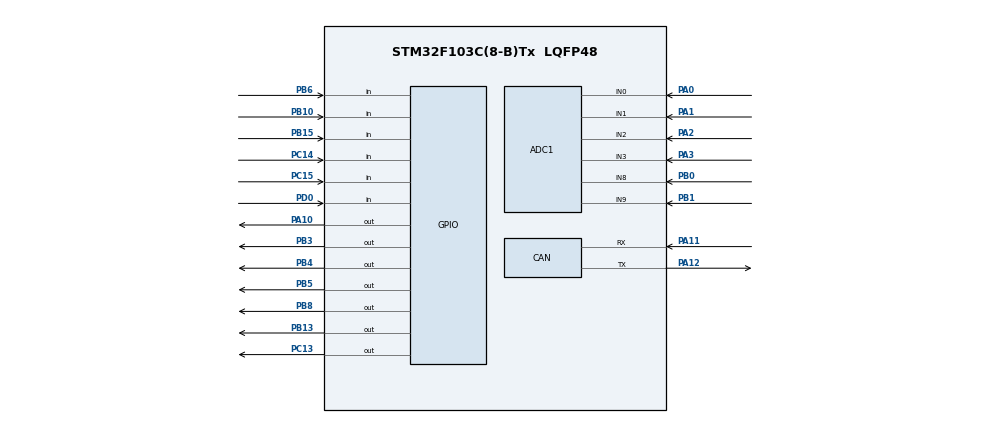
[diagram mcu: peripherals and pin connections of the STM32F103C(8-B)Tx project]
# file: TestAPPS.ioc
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ADC1.Channel-0\#ChannelRegularConversion=ADC_CHANNEL_0
ADC1.NbrOfConversionFlag=1
ADC1.Rank-0\#ChannelRegularConversion=1
ADC1.SamplingTime-0\#ChannelRegularConversion=ADC_SAMPLETIME_1CYCLE_5
ADC1.master=1
CAN.CalculateTimeBit=6000
CAN.CalculateTimeQuantum=2000.0
Mcu.Family=STM32F1
Mcu.Name=STM32F103C(8-B)Tx
Mcu.Package=LQFP48
NVIC.PriorityGroup=NVIC_PRIORITYGROUP_4
PA0-WKUP.Signal=ADCx_IN0
PA1.Signal=ADCx_IN1
PA10.Signal=GPIO_Output
PA11.Mode=Master
PA11.Signal=CAN_RX
PA12.Mode=Master
PA12.Signal=CAN_TX
PA2.Signal=ADCx_IN2
PA3.Signal=ADCx_IN3
PB0.Signal=ADCx_IN8
PB1.Signal=ADCx_IN9
PB10.Signal=GPIO_Input
PB13.Signal=GPIO_Output
PB15.Signal=GPIO_Input
PB3.Signal=GPIO_Output
PB4.Signal=GPIO_Output
PB5.Signal=GPIO_Output
PB6.Signal=GPIO_Input
PB8.Signal=GPIO_Output
PC13-TAMPER-RTC.Signal=GPIO_Output
PC14-OSC32_IN.Signal=GPIO_Input
PC15-OSC32_OUT.Signal=GPIO_Input
PD0-OSC_IN.Signal=GPIO_Input
ProjectManager.HeapSize=0x200
ProjectManager.StackSize=0x400
ProjectManager.TargetToolchain=Makefile
RCC.APB1Freq_Value=8000000
RCC.APB2Freq_Value=8000000
SH.ADCx_IN0.0=ADC1_IN0,IN0
SH.ADCx_IN1.0=ADC1_IN1,IN1
SH.ADCx_IN2.0=ADC1_IN2,IN2
SH.ADCx_IN3.0=ADC1_IN3,IN3
SH.ADCx_IN8.0=ADC1_IN8,IN8
SH.ADCx_IN9.0=ADC1_IN9,IN9
VP_SYS_VS_ND.Mode=No_Debug
board=custom

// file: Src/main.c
/* USER CODE BEGIN Header */
/**
  ******************************************************************************
  * @file           : main.c
  * @brief          : Main program body
  ******************************************************************************
  * @attention
  *
  * <h2><center>&copy; Copyright (c) 2019 STMicroelectronics.
  * All rights reserved.</center></h2>
  *
  * This software component is licensed by ST under BSD 3-Clause license,
  * the "License"; You may not use this file except in compliance with the
  * License. You may obtain a copy of the License at:
  *                        opensource.org/licenses/BSD-3-Clause
  *
  ******************************************************************************
  */
/* USER CODE END Header */

#include "main.h"

ADC_HandleTypeDef hadc1;

CAN_HandleTypeDef hcan;

/* USER CODE BEGIN PV */
uint16_t brakePos;
uint16_t steeringPos;
uint16_t brakePressure_1;
uint16_t brakePressure_2;
uint16_t throttle_A;
uint16_t throttle_B;

uint16_t max_throttle = 10;

int driving = 0;  		//boolean
int hardFaultFlag = 0;  //boolean

//FAULTS
uint8_t bms;        //TxData[0]
uint8_t imd;		//TxData[1]
uint8_t bspd; 		//TxData[2]
uint8_t apps; 		//TxData[3]
//PRECHARGE
uint8_t charged;    //TxData[4]
//ENABLE
uint8_t enable;		//TxData[5]

extern uint32_t millisTimer;
extern uint32_t secTimer;
/* USER CODE END PV */

void SystemClock_Config(void);
static void MX_GPIO_Init(void);
static void MX_ADC1_Init(void);
static void MX_CAN_Init(void);

int main(void)
{

  /* MCU Configuration--------------------------------------------------------*/

  /* Reset of all peripherals, Initializes the Flash interface and the Systick. */
  HAL_Init();

  /* Configure the system clock */
  SystemClock_Config();

  /* Initialize all configured peripherals */
  MX_GPIO_Init();
  MX_ADC1_Init();
  MX_CAN_Init();

  /* Infinite loop */
  while (1)
  {
	 HAL_GPIO_WritePin(GPIOC, GPIO_PIN_13,GPIO_PIN_SET);
	 HAL_Delay(300);
	 HAL_GPIO_WritePin(GPIOC, GPIO_PIN_13,GPIO_PIN_RESET);
	 HAL_Delay(200);

  }
}

void SystemClock_Config(void)
{
  RCC_OscInitTypeDef RCC_OscInitStruct = {0};
  RCC_ClkInitTypeDef RCC_ClkInitStruct = {0};
  RCC_PeriphCLKInitTypeDef PeriphClkInit = {0};

  /** Initializes the CPU, AHB and APB busses clocks
  */
  RCC_OscInitStruct.OscillatorType = RCC_OSCILLATORTYPE_HSI;
  RCC_OscInitStruct.HSIState = RCC_HSI_ON;
  RCC_OscInitStruct.HSICalibrationValue = RCC_HSICALIBRATION_DEFAULT;
  RCC_OscInitStruct.PLL.PLLState = RCC_PLL_NONE;
  if (HAL_RCC_OscConfig(&RCC_OscInitStruct) != HAL_OK)
  {
    Error_Handler();
  }
  /** Initializes the CPU, AHB and APB busses clocks
  */
  RCC_ClkInitStruct.ClockType = RCC_CLOCKTYPE_HCLK|RCC_CLOCKTYPE_SYSCLK
                              |RCC_CLOCKTYPE_PCLK1|RCC_CLOCKTYPE_PCLK2;
  RCC_ClkInitStruct.SYSCLKSource = RCC_SYSCLKSOURCE_HSI;
  RCC_ClkInitStruct.AHBCLKDivider = RCC_SYSCLK_DIV1;
  RCC_ClkInitStruct.APB1CLKDivider = RCC_HCLK_DIV1;
  RCC_ClkInitStruct.APB2CLKDivider = RCC_HCLK_DIV1;

  if (HAL_RCC_ClockConfig(&RCC_ClkInitStruct, FLASH_LATENCY_0) != HAL_OK)
  {
    Error_Handler();
  }
  PeriphClkInit.PeriphClockSelection = RCC_PERIPHCLK_ADC;
  PeriphClkInit.AdcClockSelection = RCC_ADCPCLK2_DIV2;
  if (HAL_RCCEx_PeriphCLKConfig(&PeriphClkInit) != HAL_OK)
  {
    Error_Handler();
  }
}

static void MX_ADC1_Init(void)
{

  ADC_ChannelConfTypeDef sConfig = {0};

  /** Common config
  */
  hadc1.Instance = ADC1;
  hadc1.Init.ScanConvMode = ADC_SCAN_DISABLE;
  hadc1.Init.ContinuousConvMode = DISABLE;
  hadc1.Init.DiscontinuousConvMode = DISABLE;
  hadc1.Init.ExternalTrigConv = ADC_SOFTWARE_START;
  hadc1.Init.DataAlign = ADC_DATAALIGN_RIGHT;
  hadc1.Init.NbrOfConversion = 1;
  if (HAL_ADC_Init(&hadc1) != HAL_OK)
  {
    Error_Handler();
  }
  /** Configure Regular Channel
  */
  sConfig.Channel = ADC_CHANNEL_0;
  sConfig.Rank = ADC_REGULAR_RANK_1;
  sConfig.SamplingTime = ADC_SAMPLETIME_1CYCLE_5;
  if (HAL_ADC_ConfigChannel(&hadc1, &sConfig) != HAL_OK)
  {
    Error_Handler();
  }
  /* USER CODE BEGIN ADC1_Init 2 */
  //Steering Position
  sConfig.Channel = ADC_CHANNEL_1;
  sConfig.Rank = ADC_REGULAR_RANK_2;
  HAL_ADC_ConfigChannel(&hadc1, &sConfig);
  if (HAL_ADC_ConfigChannel(&hadc1, &sConfig) != HAL_OK){
    Error_Handler();
  }

  //Brake Pressure 1
  sConfig.Channel = ADC_CHANNEL_3;
  sConfig.Rank = ADC_REGULAR_RANK_3;
  HAL_ADC_ConfigChannel(&hadc1, &sConfig);
  if (HAL_ADC_ConfigChannel(&hadc1, &sConfig) != HAL_OK){
    Error_Handler();
  }

  //Brake Pressure 2
  sConfig.Channel = ADC_CHANNEL_2;
  sConfig.Rank = ADC_REGULAR_RANK_4;
  HAL_ADC_ConfigChannel(&hadc1, &sConfig);
  if (HAL_ADC_ConfigChannel(&hadc1, &sConfig) != HAL_OK){
    Error_Handler();
  }

  //ADC for throttle_A
  sConfig.Channel = ADC_CHANNEL_8;
  sConfig.Rank = ADC_REGULAR_RANK_5;
  HAL_ADC_ConfigChannel(&hadc1, &sConfig);
  if (HAL_ADC_ConfigChannel(&hadc1, &sConfig) != HAL_OK){
    Error_Handler();
  }

  //ADC for throttle_B
  sConfig.Channel = ADC_CHANNEL_9;
  sConfig.Rank = ADC_REGULAR_RANK_6;
  HAL_ADC_ConfigChannel(&hadc1, &sConfig);
  if (HAL_ADC_ConfigChannel(&hadc1, &sConfig) != HAL_OK){
    Error_Handler();
  }
  /* USER CODE END ADC1_Init 2 */

}

static void MX_CAN_Init(void)
{

  hcan.Instance = CAN1;
  hcan.Init.Prescaler = 16;
  hcan.Init.Mode = CAN_MODE_NORMAL;
  hcan.Init.SyncJumpWidth = CAN_SJW_1TQ;
  hcan.Init.TimeSeg1 = CAN_BS1_1TQ;
  hcan.Init.TimeSeg2 = CAN_BS2_1TQ;
  hcan.Init.TimeTriggeredMode = DISABLE;
  hcan.Init.AutoBusOff = DISABLE;
  hcan.Init.AutoWakeUp = DISABLE;
  hcan.Init.AutoRetransmission = DISABLE;
  hcan.Init.ReceiveFifoLocked = DISABLE;
  hcan.Init.TransmitFifoPriority = DISABLE;
  if (HAL_CAN_Init(&hcan) != HAL_OK)
  {
    Error_Handler();
  }

}

static void MX_GPIO_Init(void)
{
  GPIO_InitTypeDef GPIO_InitStruct = {0};

  /* GPIO Ports Clock Enable */
  __HAL_RCC_GPIOC_CLK_ENABLE();
  __HAL_RCC_GPIOD_CLK_ENABLE();
  __HAL_RCC_GPIOA_CLK_ENABLE();
  __HAL_RCC_GPIOB_CLK_ENABLE();

  /*Configure GPIO pin Output Level */
  HAL_GPIO_WritePin(GPIOC, GPIO_PIN_13, GPIO_PIN_RESET);

  /*Configure GPIO pin Output Level */
  HAL_GPIO_WritePin(GPIOB, GPIO_PIN_13|GPIO_PIN_3|GPIO_PIN_4|GPIO_PIN_5
                          |GPIO_PIN_8, GPIO_PIN_RESET);

  /*Configure GPIO pin Output Level */
  HAL_GPIO_WritePin(GPIOA, GPIO_PIN_10, GPIO_PIN_RESET);

  /*Configure GPIO pin : PC13 */
  GPIO_InitStruct.Pin = GPIO_PIN_13;
  GPIO_InitStruct.Mode = GPIO_MODE_OUTPUT_PP;
  GPIO_InitStruct.Pull = GPIO_NOPULL;
  GPIO_InitStruct.Speed = GPIO_SPEED_FREQ_LOW;
  HAL_GPIO_Init(GPIOC, &GPIO_InitStruct);

  /*Configure GPIO pins : PC14 PC15 */
  GPIO_InitStruct.Pin = GPIO_PIN_14|GPIO_PIN_15;
  GPIO_InitStruct.Mode = GPIO_MODE_INPUT;
  GPIO_InitStruct.Pull = GPIO_NOPULL;
  HAL_GPIO_Init(GPIOC, &GPIO_InitStruct);

  /*Configure GPIO pin : PD0 */
  GPIO_InitStruct.Pin = GPIO_PIN_0;
  GPIO_InitStruct.Mode = GPIO_MODE_INPUT;
  GPIO_InitStruct.Pull = GPIO_NOPULL;
  HAL_GPIO_Init(GPIOD, &GPIO_InitStruct);

  /*Configure GPIO pins : PB10 PB15 PB6 */
  GPIO_InitStruct.Pin = GPIO_PIN_10|GPIO_PIN_15|GPIO_PIN_6;
  GPIO_InitStruct.Mode = GPIO_MODE_INPUT;
  GPIO_InitStruct.Pull = GPIO_NOPULL;
  HAL_GPIO_Init(GPIOB, &GPIO_InitStruct);

  /*Configure GPIO pins : PB13 PB3 PB4 PB5
                           PB8 */
  GPIO_InitStruct.Pin = GPIO_PIN_13|GPIO_PIN_3|GPIO_PIN_4|GPIO_PIN_5
                          |GPIO_PIN_8;
  GPIO_InitStruct.Mode = GPIO_MODE_OUTPUT_PP;
  GPIO_InitStruct.Pull = GPIO_NOPULL;
  GPIO_InitStruct.Speed = GPIO_SPEED_FREQ_LOW;
  HAL_GPIO_Init(GPIOB, &GPIO_InitStruct);

  /*Configure GPIO pin : PA10 */
  GPIO_InitStruct.Pin = GPIO_PIN_10;
  GPIO_InitStruct.Mode = GPIO_MODE_OUTPUT_PP;
  GPIO_InitStruct.Pull = GPIO_NOPULL;
  GPIO_InitStruct.Speed = GPIO_SPEED_FREQ_LOW;
  HAL_GPIO_Init(GPIOA, &GPIO_InitStruct);

  /*Configure peripheral I/O remapping */
  __HAL_AFIO_REMAP_PD01_ENABLE();

}

/* USER CODE BEGIN 4 */
/********************************************************************************/
//Checks for APPS errors, sends fault if there is one
//Returns one if difference in throttleA/B is greater than 10% for 100 ms
//Returns zero if else
/********************************************************************************/
int checkAPPS(){

  updateADC();
  //0-5000 based ?

  //Throttles Agree
  if(APPS_Diff() == 0){
    millisTimer = 100000;
  }

  //APPS_EN Fault
  if(millisTimer == 0){ //hmmm needs to be changed
    //TxHeader.StdId = APPS_STDID; //sending CAN message
    //HAL_CAN_AddTxMessage(&hcan, &TxHeader, TxData, &TxMailbox);
	HAL_GPIO_WritePin(GPIOC,GPIO_PIN_13,GPIO_PIN_SET);
    return 1;
  }

  return 0;

}

/********************************************************************************/
//Updates all adc values
/********************************************************************************/
void updateADC(){
	//HAL_GPIO_WritePin(GPIOC, GPIO_PIN_13, GPIO_PIN_RESET);
	HAL_ADC_Start(&hadc1);

	HAL_ADC_PollForConversion(&hadc1, 1000);
	brakePos = HAL_ADC_GetValue(&hadc1);  //brakePos
	HAL_ADC_PollForConversion(&hadc1, 1000);
	steeringPos = HAL_ADC_GetValue(&hadc1);  //steeringPos
	HAL_ADC_PollForConversion(&hadc1, 1000);
	brakePressure_1 = HAL_ADC_GetValue(&hadc1);  //brakePressure_1
	HAL_ADC_PollForConversion(&hadc1, 1000);
	brakePressure_2 = HAL_ADC_GetValue(&hadc1);  //brakePressure_2
	HAL_ADC_PollForConversion(&hadc1, 1000);
	throttle_A = HAL_ADC_GetValue(&hadc1);  //throttle_A
	HAL_ADC_PollForConversion(&hadc1, 1000);
	throttle_B = HAL_ADC_GetValue(&hadc1);  //throttle_B

	HAL_ADC_Stop(&hadc1);
}

/********************************************************************************/
//Determine if greater than 10% diff in throttles
/********************************************************************************/
int APPS_Diff(){

  double t_A = throttle_A;
  double t_B = throttle_B;

  t_A -= (1/12.5)*max_throttle; //equalize throttles assuming 1mm diff out of 12.5mm from pots

  double numerator = t_A - t_B;
  //absolute value
  if(numerator < 0){
    numerator = -1*numerator;
  }

  double denominator = (t_A + t_B)/2;

  double difference = 100*numerator/denominator;

  if(difference >= 10){
    return 1;
  }
  return 0;
}

/* USER CODE END 4 */

void Error_Handler(void)
{
}

/************************ (C) COPYRIGHT STMicroelectronics *****END OF FILE****/
